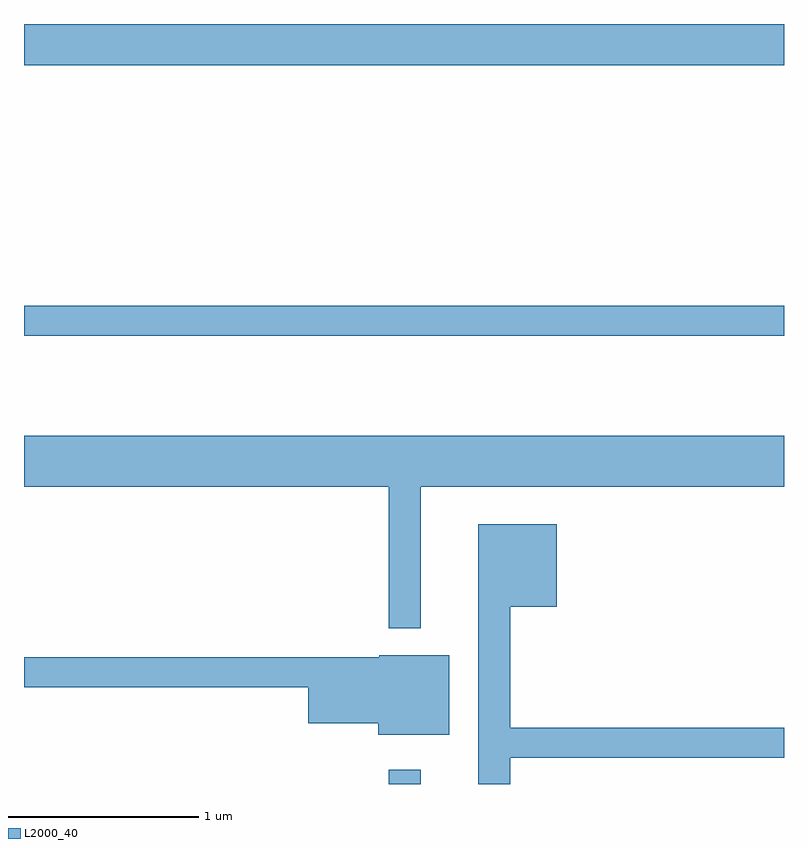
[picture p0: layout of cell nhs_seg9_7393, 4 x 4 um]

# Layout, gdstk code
import gdstk
lib = gdstk.Library(unit=1e-6, precision=1e-09)
def R(c, l, rs):  # rectangles x0, y0, x1, y1
    for r in rs: c.add(gdstk.rectangle(r[:2], r[2:], *l))
def P(c, l, *ps):  # polygons
    for p in ps: c.add(gdstk.Polygon(p, *l))
L2000_40 = (2000, 40)

nhs_seg9_7393 = lib.new_cell('nhs_seg9_7393')
R(nhs_seg9_7393, L2000_40, [(405.531,2032.432,405.699,2032.508), (403.611,2034.791,407.611,2034.949), (403.611,2036.216,407.611,2036.432)])
P(nhs_seg9_7393, L2000_40, [(405.699,2033.996),(407.611,2033.996),(407.611,2034.264),(403.611,2034.264),(403.611,2033.996),(405.531,2033.996),(405.531,2033.253),(405.699,2033.253)],
  [(406.169,2032.571),(407.611,2032.571),(407.611,2032.729),(406.169,2032.729),(406.169,2033.366),(406.414,2033.366),(406.414,2033.799),(406.001,2033.799),(406.001,2032.432),(406.169,2032.432)],
  [(405.849,2033.109),(405.48,2033.109),(405.48,2033.099),(403.611,2033.099),(403.611,2032.941),(405.106,2032.941),(405.106,2032.751),(405.476,2032.751),(405.476,2032.691),(405.849,2032.691)])

lib.write_gds('nhs_seg9_7393.gds')
